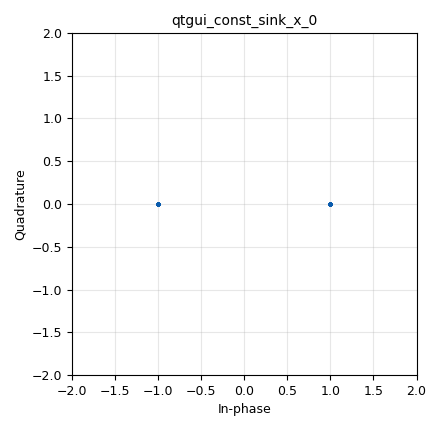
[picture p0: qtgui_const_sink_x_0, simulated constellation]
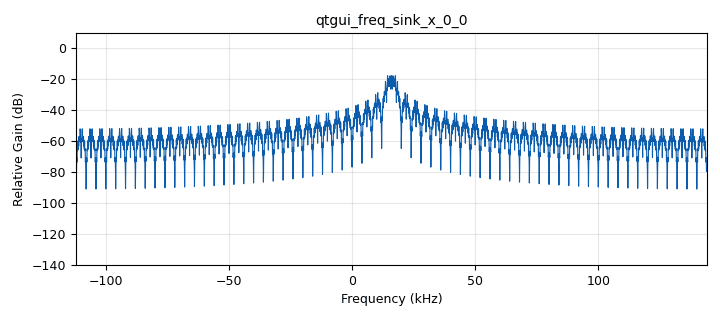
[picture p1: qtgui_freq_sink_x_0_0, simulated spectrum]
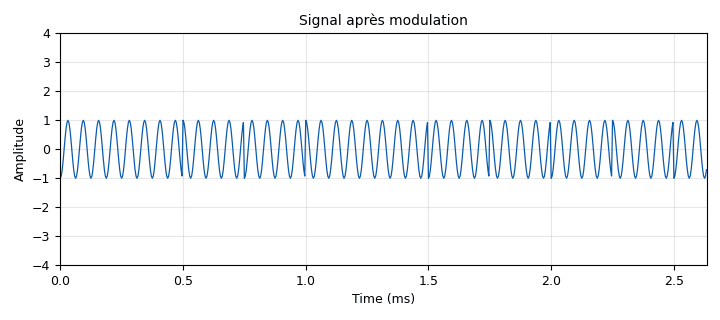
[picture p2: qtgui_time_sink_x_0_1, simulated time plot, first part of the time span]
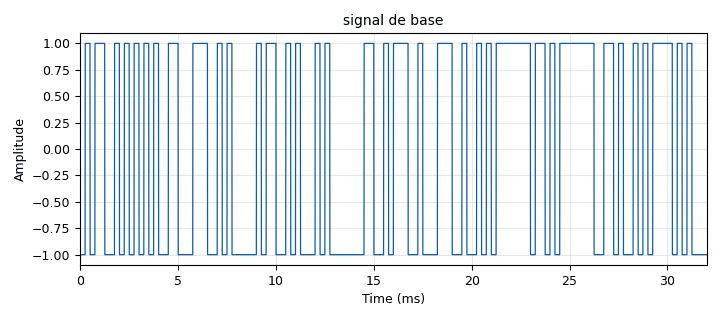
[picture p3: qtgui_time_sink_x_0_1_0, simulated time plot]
options:
  parameters:
    generate_options: qt_gui
    id: QPSK
    output_language: python
    title: Not titled yet
  states: {}

blocks:
- name: Fc
  id: variable
  parameters:
    value: '16000'
  states: {}
- name: Fs
  id: variable
  parameters:
    value: 4 * Fc
  states: {}
- name: Rb
  id: variable
  parameters:
    value: '4000'
  states: {}
- name: samp_rate
  id: variable
  parameters:
    value: '256000'
  states: {}
- name: symbol_rate
  id: variable
  parameters:
    value: '4000'
  states: {}
- name: analog_random_source_x_0
  id: analog_random_source_x
  parameters:
    max: '2'
    min: '0'
    num_samps: '8192'
    repeat: 'True'
    type: byte
  states: {}
- name: analog_sig_source_x_0
  id: analog_sig_source_x
  parameters:
    amp: '1'
    freq: Fc
    offset: '0'
    phase: '0'
    samp_rate: samp_rate
    type: float
    waveform: analog.GR_COS_WAVE
  states: {}
- name: blocks_float_to_complex_0
  id: blocks_float_to_complex
  parameters: {}
  states: {}
- name: blocks_multiply_xx_0_1
  id: blocks_multiply_xx
  parameters:
    type: float
  states: {}
- name: blocks_repeat_0
  id: blocks_repeat
  parameters:
    interp: int(samp_rate/symbol_rate)
    type: float
  states: {}
- name: blocks_throttle2_0_0
  id: blocks_throttle2
  parameters:
    samples_per_second: samp_rate
    type: float
  states: {}
- name: epy_block_1
  id: epy_block
  parameters:
    _source_code: "\nimport numpy as np\nfrom gnuradio import gr\n\nclass blk(gr.sync_block):\n    def __init__(self):\n        gr.sync_block.__init__(\n            self,\n            name='Mapping BPSK',\n            in_sig=[np.uint8],\n            out_sig=[np.float32]\n        )\n\n        # Mapping des bits vers les symboles BPSK\n        self.dico = {\n            0: 1,\n            1: -1\n        }\n\n    def work(self, input_items, output_items):\n        bits = input_items[0]\n        out = output_items[0]\n\n        for i, bit in enumerate(bits):\n            out[i] = self.dico[int(bit)]\n\n        return len(out)\n"
  states: {}
- name: note_0
  id: note
  parameters:
    note: 4 périodes par symbole
  states: {}
- name: note_0_0
  id: note
  parameters:
    note: symbol_rate < Fc*2
  states: {}
- name: note_0_0_0
  id: note
  parameters:
    note: Rb = log2(2^M) * symbol_rate
  states: {}
- name: note_0_0_0_0
  id: note
  parameters:
    note: samp_rate/symbol_rate
  states: {}
- name: note_0_2
  id: note
  parameters:
    note: Fs > 2 * Fc
  states: {}
- name: qtgui_const_sink_x_0
  id: qtgui_const_sink_x
  parameters:
    size: '1024'
    type: complex
  states: {}
- name: qtgui_freq_sink_x_0_0
  id: qtgui_freq_sink_x
  parameters:
    average: '0.2'
    bw: samp_rate
    fc: Fc
    fftsize: '4096'
    norm_window: 'True'
    showports: 'True'
    type: float
    wintype: window.WIN_HANN
  states: {}
- name: qtgui_time_sink_x_0_1
  id: qtgui_time_sink_x
  parameters:
    name: Signal après modulation
    size: '32768'
    srate: samp_rate
    type: float
    ymax: '4'
    ymin: '-4'
  states: {}
- name: qtgui_time_sink_x_0_1_0
  id: qtgui_time_sink_x
  parameters:
    autoscale: 'True'
    name: 'signal de base '
    size: '8192'
    srate: samp_rate
    type: float
    update_time: '1'
    ymax: '2'
    ymin: '-2'
  states: {}

connections:
- [analog_random_source_x_0, '0', epy_block_1, '0']
- [analog_sig_source_x_0, '0', blocks_multiply_xx_0_1, '0']
- [blocks_float_to_complex_0, '0', qtgui_const_sink_x_0, '0']
- [blocks_multiply_xx_0_1, '0', qtgui_time_sink_x_0_1, '0']
- [blocks_repeat_0, '0', blocks_float_to_complex_0, '0']
- [blocks_repeat_0, '0', blocks_multiply_xx_0_1, '1']
- [blocks_repeat_0, '0', qtgui_freq_sink_x_0_0, '0']
- [blocks_repeat_0, '0', qtgui_time_sink_x_0_1_0, '0']
- [blocks_throttle2_0_0, '0', blocks_repeat_0, '0']
- [epy_block_1, '0', blocks_throttle2_0_0, '0']

metadata:
  file_format: 1
  grc_version: 3.10.12.0
